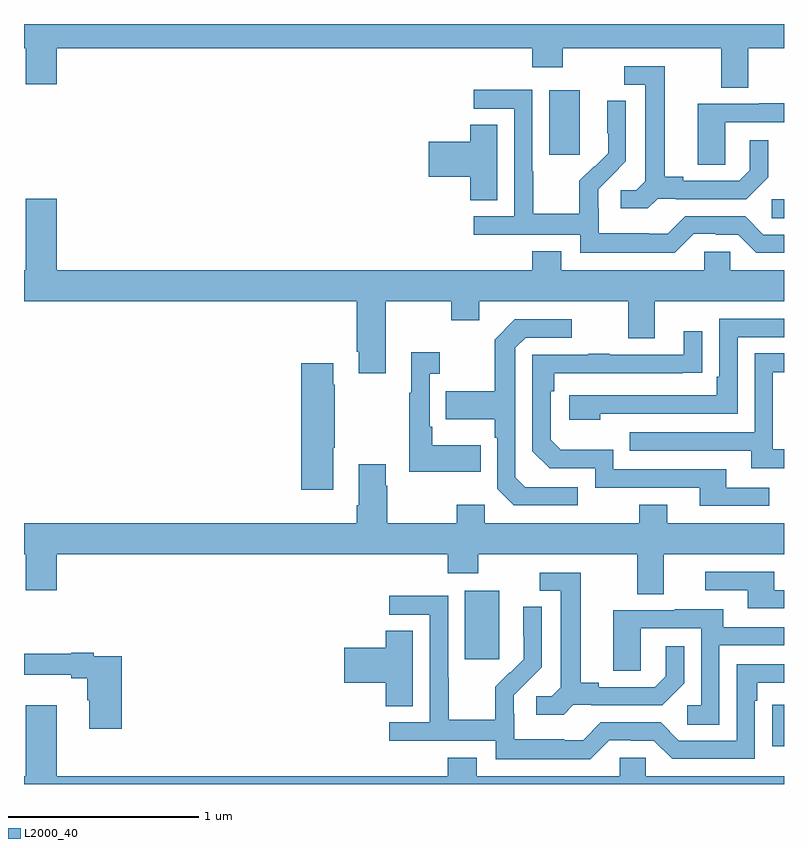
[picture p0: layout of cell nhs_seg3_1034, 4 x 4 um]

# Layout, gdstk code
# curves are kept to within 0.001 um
import gdstk
lib = gdstk.Library(unit=1e-6, precision=1e-09)
def R(c, l, rs):  # rectangles x0, y0, x1, y1
    for r in rs: c.add(gdstk.rectangle(r[:2], r[2:], *l))
def P(c, l, *ps):  # polygons
    for p in ps: c.add(gdstk.Polygon(p, *l))
L2000_40 = (2000, 40)

nhs_seg3_1034 = lib.new_cell('nhs_seg3_1034')
R(nhs_seg3_1034, L2000_40, [(168.937,674.598,169,674.816), (167.321,675.057,167.5,675.418), (168.936,677.377,169,677.478), (167.765,677.712,167.926,678.052)])
P(nhs_seg3_1034, L2000_40, [(168.811,678.272),(169,678.272),(169,678.4),(165,678.4),(165,678.272),(165.008,678.272),(165.008,678.084),(165.172,678.084),(165.172,678.272),(167.675,678.272),(167.675,678.173),(167.835,678.173),(167.835,678.272),(168.671,678.272),(168.671,678.064),(168.811,678.064)],
  [(168.336,677.481),(168.43,677.481),(168.43,677.478),(168.802,677.478),(168.918,677.594),(168.918,677.788),(168.821,677.788),(168.821,677.631),(168.764,677.574),(168.469,677.574),(168.469,677.597),(168.373,677.597),(168.373,678.177),(168.159,678.177),(168.159,678.081),(168.269,678.081),(168.269,677.573),(168.222,677.526),(168.141,677.526),(168.141,677.429),(168.284,677.429)],
  [(168.525,677.295),(168.641,677.295),(168.641,677.292),(168.759,677.292),(168.855,677.196),(169,677.196),(169,677.292),(168.891,677.292),(168.795,677.388),(168.48,677.388),(168.387,677.295),(168.287,677.295),(168.287,677.299),(168.024,677.299),(168.024,677.433),(168.022,677.433),(168.022,677.53),(168.168,677.678),(168.168,677.996),(168.071,677.996),(168.071,677.824),(168.074,677.824),(168.074,677.72),(168.003,677.649),(168,677.652),(167.923,677.575),(167.923,677.401),(167.679,677.401),(167.679,677.624),(167.676,677.624),(167.676,678.054),(167.367,678.054),(167.367,677.955),(167.58,677.955),(167.58,677.388),(167.367,677.388),(167.367,677.292),(167.928,677.292),(167.928,677.195),(168.425,677.195)],
  [(168.69,677.883),(169,677.883),(169,677.983),(168.869,677.983),(168.869,677.979),(168.545,677.979),(168.545,677.659),(168.69,677.659)],
  [(167.491,677.87),(167.348,677.87),(167.348,677.78),(167.13,677.78),(167.13,677.597),(167.348,677.597),(167.348,677.473),(167.491,677.473)],
  [(168.179,676.746),(168.319,676.746),(168.319,676.94),(169,676.94),(169,677.104),(168.717,677.104),(168.717,677.202),(168.579,677.202),(168.579,677.104),(167.827,677.104),(167.827,677.203),(167.675,677.203),(167.675,677.104),(165.172,677.104),(165.172,677.479),(165.008,677.479),(165.008,677.104),(165,677.104),(165,676.94),(166.751,676.94),(166.751,676.675),(166.763,676.675),(166.763,676.563),(166.903,676.563),(166.903,676.94),(167.248,676.94),(167.248,676.841),(167.395,676.841),(167.395,676.94),(168.179,676.94)],
  [(168.032,676.35),(168.756,676.35),(168.756,676.752),(169,676.752),(169,676.848),(168.66,676.848),(168.66,676.543),(168.647,676.543),(168.647,676.446),(167.871,676.446),(167.871,676.316),(168.032,676.316)],
  [(167.914,675.963),(167.637,675.963),(167.586,676.014),(167.586,676.695),(167.64,676.749),(167.884,676.749),(167.884,676.845),(167.583,676.845),(167.478,676.739),(167.478,676.467),(167.221,676.467),(167.221,676.319),(167.478,676.319),(167.478,676.223),(167.49,676.223),(167.49,675.954),(167.577,675.867),(167.914,675.867)],
  [(168.922,675.96),(168.697,675.96),(168.697,676.056),(168.102,676.056),(168.102,676.159),(167.825,676.159),(167.772,676.212),(167.772,676.466),(167.792,676.466),(167.792,676.563),(168.569,676.564),(168.569,676.783),(168.473,676.783),(168.473,676.659),(168.083,676.659),(168.083,676.664),(167.971,676.664),(167.971,676.659),(167.676,676.659),(167.676,676.152),(167.766,676.062),(168.006,676.062),(168.006,675.96),(168.557,675.96),(168.557,675.864),(168.922,675.864)],
  [(167.405,676.183),(167.149,676.183),(167.149,676.279),(167.136,676.279),(167.136,676.559),(167.188,676.559),(167.188,676.672),(167.039,676.672),(167.039,676.459),(167.028,676.459),(167.028,676.043),(167.405,676.043)],
  [(169,676.161),(168.942,676.161),(168.942,676.566),(169,676.566),(169,676.667),(168.846,676.667),(168.846,676.251),(168.187,676.251),(168.187,676.155),(168.827,676.155),(168.827,676.061),(169,676.061)],
  [(166.627,676.171),(166.635,676.171),(166.635,676.502),(166.627,676.502),(166.627,676.615),(166.46,676.615),(166.46,675.948),(166.627,675.948)],
  [(168.367,675.608),(169,675.608),(169,675.772),(168.385,675.772),(168.385,675.871),(168.238,675.871),(168.238,675.772),(167.424,675.772),(167.424,675.871),(167.278,675.871),(167.278,675.772),(166.911,675.772),(166.911,675.971),(166.903,675.971),(166.903,676.084),(166.763,676.084),(166.763,675.868),(166.751,675.868),(166.751,675.772),(165,675.772),(165,675.608),(165.008,675.608),(165.008,675.42),(165.172,675.42),(165.172,675.608),(167.231,675.608),(167.231,675.509),(167.391,675.509),(167.391,675.608),(168.227,675.608),(168.227,675.4),(168.367,675.4)],
  [(169,675.42),(168.949,675.42),(168.949,675.516),(168.585,675.516),(168.585,675.42),(168.809,675.42),(168.809,675.324),(169,675.324)],
  [(167.892,674.817),(167.986,674.817),(167.986,674.814),(168.358,674.814),(168.474,674.93),(168.474,675.124),(168.377,675.124),(168.377,674.967),(168.32,674.91),(168.025,674.91),(168.025,674.933),(167.929,674.933),(167.929,675.513),(167.715,675.513),(167.715,675.417),(167.825,675.417),(167.825,674.909),(167.778,674.862),(167.697,674.862),(167.697,674.765),(167.84,674.765)],
  [(168.081,674.631),(168.197,674.631),(168.197,674.628),(168.315,674.628),(168.411,674.532),(168.846,674.532),(168.846,674.837),(168.859,674.837),(168.859,674.934),(169,674.934),(169,675.03),(168.75,675.03),(168.75,674.628),(168.447,674.628),(168.351,674.724),(168.036,674.724),(167.943,674.631),(167.843,674.631),(167.843,674.635),(167.58,674.635),(167.58,674.769),(167.578,674.769),(167.578,674.866),(167.724,675.014),(167.724,675.332),(167.628,675.332),(167.628,675.178),(167.63,675.178),(167.63,675.056),(167.559,674.985),(167.556,674.988),(167.479,674.911),(167.479,674.737),(167.235,674.737),(167.235,674.96),(167.232,674.96),(167.232,675.39),(166.923,675.39),(166.923,675.291),(167.136,675.291),(167.136,674.724),(166.923,674.724),(166.923,674.628),(167.484,674.628),(167.484,674.531),(167.981,674.531)],
  [(168.66,675.129),(169,675.129),(169,675.225),(168.679,675.225),(168.679,675.319),(168.425,675.319),(168.425,675.315),(168.101,675.315),(168.101,674.995),(168.246,674.995),(168.246,675.219),(168.564,675.219),(168.564,674.814),(168.492,674.814),(168.492,674.713),(168.66,674.713)],
  [(167.047,675.206),(166.904,675.206),(166.904,675.116),(166.686,675.116),(166.686,674.933),(166.904,674.933),(166.904,674.809),(167.047,674.809)],
  [(165.515,675.072),(165.368,675.072),(165.368,675.092),(165.248,675.092),(165.248,675.085),(165,675.085),(165,674.975),(165.248,674.975),(165.248,674.956),(165.332,674.956),(165.332,674.841),(165.344,674.841),(165.344,674.691),(165.515,674.691)],
  [(169,674.44),(168.273,674.44),(168.273,674.538),(168.135,674.538),(168.135,674.44),(167.383,674.44),(167.383,674.539),(167.231,674.539),(167.231,674.44),(165.172,674.44),(165.172,674.815),(165.008,674.815),(165.008,674.44),(165,674.44),(165,674.4),(169,674.4)])

lib.write_gds('nhs_seg3_1034.gds')
